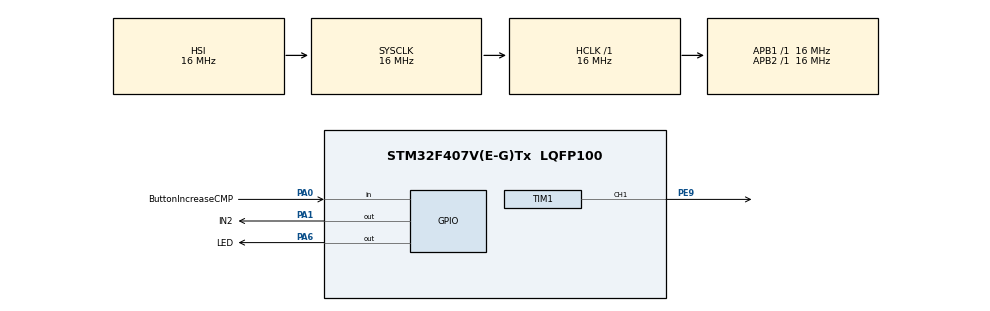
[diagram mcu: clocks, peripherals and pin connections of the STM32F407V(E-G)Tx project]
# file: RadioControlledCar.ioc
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Mcu.Family=STM32F4
Mcu.Name=STM32F407V(E-G)Tx
Mcu.Package=LQFP100
NVIC.PriorityGroup=NVIC_PRIORITYGROUP_4
NVIC.TIM1_UP_TIM10_IRQn=true\:0\:0\:false\:false\:true\:true\:true\:true
PA0-WKUP.GPIO_Label=ButtonIncreaseCMP
PA0-WKUP.Signal=GPIO_Input
PA1.GPIO_Label=IN2
PA1.Signal=GPIO_Output
PA6.GPIO_Label=LED
PA6.Signal=GPIO_Output
PE9.Signal=S_TIM1_CH1
ProjectManager.HeapSize=0x200
ProjectManager.StackSize=0x400
ProjectManager.TargetToolchain=STM32CubeIDE
RCC.AHBFreq_Value=16000000
RCC.APB1Freq_Value=16000000
RCC.APB2Freq_Value=16000000
RCC.CortexFreq_Value=16000000
RCC.HSE_VALUE=25000000
RCC.HSI_VALUE=16000000
RCC.LSE_VALUE=32768
RCC.SYSCLKFreq_VALUE=16000000
RCC.VCOOutputFreq_Value=192000000
SH.S_TIM1_CH1.0=TIM1_CH1,PWM Generation1 CH1
TIM1.AutoReloadPreload=TIM_AUTORELOAD_PRELOAD_ENABLE
TIM1.Channel-PWM\ Generation1\ CH1=TIM_CHANNEL_1
TIM1.OCMode_PWM-PWM\ Generation1\ CH1=TIM_OCMODE_PWM2
TIM1.OCPolarity_1=TIM_OCPOLARITY_LOW
TIM1.Period=99
TIM1.Prescaler=159
VP_TIM1_VS_ClockSourceINT.Mode=Internal
board=custom

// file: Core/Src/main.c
/* USER CODE BEGIN Header */
/**
  ******************************************************************************
  * @file           : main.c
  * @brief          : Main program body
  ******************************************************************************
  * @attention
  *
  * Copyright (c) 2026 STMicroelectronics.
  * All rights reserved.
  *
  * This software is licensed under terms that can be found in the LICENSE file
  * in the root directory of this software component.
  * If no LICENSE file comes with this software, it is provided AS-IS.
  *
  ******************************************************************************
  */
/* USER CODE END Header */
#include "main.h"

/* USER CODE BEGIN Includes */
#include "SignalProcessing.h"
/* USER CODE END Includes */

TIM_HandleTypeDef htim1;

void SystemClock_Config(void);
static void MX_GPIO_Init(void);
static void MX_TIM1_Init(void);

/* USER CODE BEGIN 0 */
uint16_t outTriggerButton = 0;
uint32_t CMP = 0; // CMP_MAX = 100; F_PWM = 1кГц
float timeSample = 0.001; // Interrupt time
float uFB = 0.0;  // Voltage from the divider output
float uREF = 0.0; // Voltage for CMP calculation
float time = 5.0; // The time it takes for the input voltage to reach 3.2V
float voltageSample;

// Interrupt
void HAL_TIM_PeriodElapsedCallback(TIM_HandleTypeDef *htim)
{
    if (htim->Instance == TIM1)
    {
    	if(uFB > 3.199){
    		uFB = 0.0;
    	};// end if
    	//<>
    	uFB += voltageSample;
    	uREF = requiredVoltageRheostatControl(uFB, 3.2);
    	CMP = calculationCMP(uREF, 3.2, 99, uFB);
    	//<>
    	if(uFB >= 1.6){
    		HAL_GPIO_WritePin(GPIOA, IN2_Pin, GPIO_PIN_SET);
    	}else{
    		HAL_GPIO_WritePin(GPIOA, IN2_Pin, GPIO_PIN_RESET);
    	}// end if
    	//<>
    	__HAL_TIM_SET_COMPARE(&htim1, TIM_CHANNEL_1, CMP);
    }
}
//<> end Interrupt
/* USER CODE END 0 */

int main(void)
{

  /* MCU Configuration--------------------------------------------------------*/

  /* Reset of all peripherals, Initializes the Flash interface and the Systick. */
  HAL_Init();

  /* USER CODE BEGIN Init */
  voltageSample = 3.2 / time * timeSample;
  /* USER CODE END Init */

  /* Configure the system clock */
  SystemClock_Config();

  /* Initialize all configured peripherals */
  MX_GPIO_Init();
  MX_TIM1_Init();
  /* USER CODE BEGIN 2 */
  __HAL_TIM_ENABLE_OCxPRELOAD(&htim1, TIM_CHANNEL_1);
  HAL_TIM_Base_Start_IT(&htim1);
  HAL_TIM_PWM_Start(&htim1, TIM_CHANNEL_1);

  HAL_GPIO_WritePin(GPIOA, IN2_Pin, GPIO_PIN_SET);
  /* USER CODE END 2 */

  /* Infinite loop */
  while (1)
  {

    /* USER CODE BEGIN 3 */
	  executeTriger(HAL_GPIO_ReadPin(GPIOA, ButtonIncreaseCMP_Pin), &outTriggerButton);
	  if(outTriggerButton == 1){
		  HAL_GPIO_TogglePin(GPIOA, LED_Pin);
		  if(CMP > 90){
			  CMP = 0;
		  };
		  CMP += 10;
	  };

  }
  /* USER CODE END 3 */
}

void SystemClock_Config(void)
{
  RCC_OscInitTypeDef RCC_OscInitStruct = {0};
  RCC_ClkInitTypeDef RCC_ClkInitStruct = {0};

  /** Configure the main internal regulator output voltage
  */
  __HAL_RCC_PWR_CLK_ENABLE();
  __HAL_PWR_VOLTAGESCALING_CONFIG(PWR_REGULATOR_VOLTAGE_SCALE1);

  /** Initializes the RCC Oscillators according to the specified parameters
  * in the RCC_OscInitTypeDef structure.
  */
  RCC_OscInitStruct.OscillatorType = RCC_OSCILLATORTYPE_HSI;
  RCC_OscInitStruct.HSIState = RCC_HSI_ON;
  RCC_OscInitStruct.HSICalibrationValue = RCC_HSICALIBRATION_DEFAULT;
  RCC_OscInitStruct.PLL.PLLState = RCC_PLL_NONE;
  if (HAL_RCC_OscConfig(&RCC_OscInitStruct) != HAL_OK)
  {
    Error_Handler();
  }

  /** Initializes the CPU, AHB and APB buses clocks
  */
  RCC_ClkInitStruct.ClockType = RCC_CLOCKTYPE_HCLK|RCC_CLOCKTYPE_SYSCLK
                              |RCC_CLOCKTYPE_PCLK1|RCC_CLOCKTYPE_PCLK2;
  RCC_ClkInitStruct.SYSCLKSource = RCC_SYSCLKSOURCE_HSI;
  RCC_ClkInitStruct.AHBCLKDivider = RCC_SYSCLK_DIV1;
  RCC_ClkInitStruct.APB1CLKDivider = RCC_HCLK_DIV1;
  RCC_ClkInitStruct.APB2CLKDivider = RCC_HCLK_DIV1;

  if (HAL_RCC_ClockConfig(&RCC_ClkInitStruct, FLASH_LATENCY_0) != HAL_OK)
  {
    Error_Handler();
  }
}

static void MX_TIM1_Init(void)
{

  TIM_ClockConfigTypeDef sClockSourceConfig = {0};
  TIM_MasterConfigTypeDef sMasterConfig = {0};
  TIM_OC_InitTypeDef sConfigOC = {0};
  TIM_BreakDeadTimeConfigTypeDef sBreakDeadTimeConfig = {0};

  htim1.Instance = TIM1;
  htim1.Init.Prescaler = 159;
  htim1.Init.CounterMode = TIM_COUNTERMODE_UP;
  htim1.Init.Period = 99;
  htim1.Init.ClockDivision = TIM_CLOCKDIVISION_DIV1;
  htim1.Init.RepetitionCounter = 0;
  htim1.Init.AutoReloadPreload = TIM_AUTORELOAD_PRELOAD_ENABLE;
  if (HAL_TIM_Base_Init(&htim1) != HAL_OK)
  {
    Error_Handler();
  }
  sClockSourceConfig.ClockSource = TIM_CLOCKSOURCE_INTERNAL;
  if (HAL_TIM_ConfigClockSource(&htim1, &sClockSourceConfig) != HAL_OK)
  {
    Error_Handler();
  }
  if (HAL_TIM_PWM_Init(&htim1) != HAL_OK)
  {
    Error_Handler();
  }
  sMasterConfig.MasterOutputTrigger = TIM_TRGO_RESET;
  sMasterConfig.MasterSlaveMode = TIM_MASTERSLAVEMODE_DISABLE;
  if (HAL_TIMEx_MasterConfigSynchronization(&htim1, &sMasterConfig) != HAL_OK)
  {
    Error_Handler();
  }
  sConfigOC.OCMode = TIM_OCMODE_PWM2;
  sConfigOC.Pulse = 0;
  sConfigOC.OCPolarity = TIM_OCPOLARITY_LOW;
  sConfigOC.OCNPolarity = TIM_OCNPOLARITY_HIGH;
  sConfigOC.OCFastMode = TIM_OCFAST_DISABLE;
  sConfigOC.OCIdleState = TIM_OCIDLESTATE_RESET;
  sConfigOC.OCNIdleState = TIM_OCNIDLESTATE_RESET;
  if (HAL_TIM_PWM_ConfigChannel(&htim1, &sConfigOC, TIM_CHANNEL_1) != HAL_OK)
  {
    Error_Handler();
  }
  sBreakDeadTimeConfig.OffStateRunMode = TIM_OSSR_DISABLE;
  sBreakDeadTimeConfig.OffStateIDLEMode = TIM_OSSI_DISABLE;
  sBreakDeadTimeConfig.LockLevel = TIM_LOCKLEVEL_OFF;
  sBreakDeadTimeConfig.DeadTime = 0;
  sBreakDeadTimeConfig.BreakState = TIM_BREAK_DISABLE;
  sBreakDeadTimeConfig.BreakPolarity = TIM_BREAKPOLARITY_HIGH;
  sBreakDeadTimeConfig.AutomaticOutput = TIM_AUTOMATICOUTPUT_DISABLE;
  if (HAL_TIMEx_ConfigBreakDeadTime(&htim1, &sBreakDeadTimeConfig) != HAL_OK)
  {
    Error_Handler();
  }
  HAL_TIM_MspPostInit(&htim1);

}

static void MX_GPIO_Init(void)
{
  GPIO_InitTypeDef GPIO_InitStruct = {0};

  /* GPIO Ports Clock Enable */
  __HAL_RCC_GPIOA_CLK_ENABLE();
  __HAL_RCC_GPIOE_CLK_ENABLE();

  /*Configure GPIO pin Output Level */
  HAL_GPIO_WritePin(GPIOA, IN2_Pin|LED_Pin, GPIO_PIN_RESET);

  /*Configure GPIO pin : ButtonIncreaseCMP_Pin */
  GPIO_InitStruct.Pin = ButtonIncreaseCMP_Pin;
  GPIO_InitStruct.Mode = GPIO_MODE_INPUT;
  GPIO_InitStruct.Pull = GPIO_NOPULL;
  HAL_GPIO_Init(ButtonIncreaseCMP_GPIO_Port, &GPIO_InitStruct);

  /*Configure GPIO pins : IN2_Pin LED_Pin */
  GPIO_InitStruct.Pin = IN2_Pin|LED_Pin;
  GPIO_InitStruct.Mode = GPIO_MODE_OUTPUT_PP;
  GPIO_InitStruct.Pull = GPIO_NOPULL;
  GPIO_InitStruct.Speed = GPIO_SPEED_FREQ_LOW;
  HAL_GPIO_Init(GPIOA, &GPIO_InitStruct);

}

void Error_Handler(void)
{
  __disable_irq();
  while (1)
  {
  }
}
